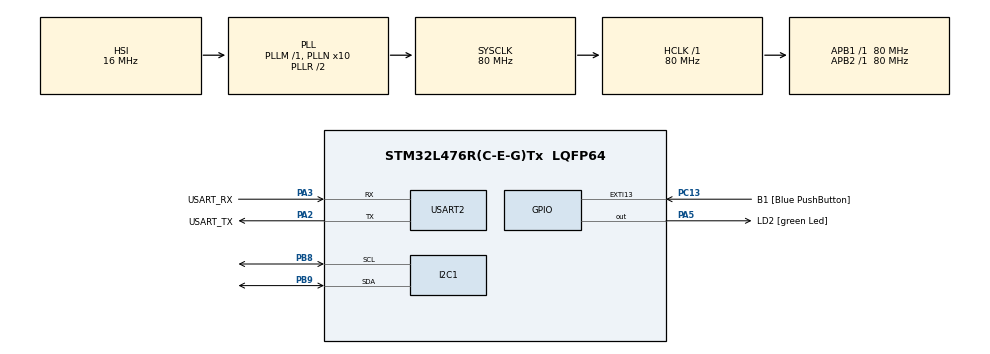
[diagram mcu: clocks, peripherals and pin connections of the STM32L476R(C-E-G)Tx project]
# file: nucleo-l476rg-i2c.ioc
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I2C1.OwnAddress=0x08
Mcu.Family=STM32L4
Mcu.Name=STM32L476R(C-E-G)Tx
Mcu.Package=LQFP64
NVIC.I2C1_ER_IRQn=true\:0\:0\:false\:false\:true\:true\:true
NVIC.I2C1_EV_IRQn=true\:0\:0\:false\:false\:true\:true\:true
NVIC.PriorityGroup=NVIC_PRIORITYGROUP_4
NVIC.USART2_IRQn=true\:0\:0\:false\:false\:true\:true\:true
PA13\ (JTMS-SWDIO).GPIO_Label=TMS
PA13\ (JTMS-SWDIO).Mode=Serial_Wire
PA13\ (JTMS-SWDIO).Signal=SYS_JTMS-SWDIO
PA14\ (JTCK-SWCLK).GPIO_Label=TCK
PA14\ (JTCK-SWCLK).Mode=Serial_Wire
PA14\ (JTCK-SWCLK).Signal=SYS_JTCK-SWCLK
PA2.GPIO_Label=USART_TX
PA2.GPIO_Mode=GPIO_MODE_AF_PP
PA2.GPIO_PuPd=GPIO_NOPULL
PA2.GPIO_Speed=GPIO_SPEED_FREQ_VERY_HIGH
PA2.Mode=Asynchronous
PA2.Signal=USART2_TX
PA3.GPIO_Label=USART_RX
PA3.GPIO_Mode=GPIO_MODE_AF_PP
PA3.GPIO_PuPd=GPIO_NOPULL
PA3.GPIO_Speed=GPIO_SPEED_FREQ_VERY_HIGH
PA3.Mode=Asynchronous
PA3.Signal=USART2_RX
PA5.GPIO_Label=LD2 [green Led]
PA5.GPIO_ModeDefaultOutputPP=GPIO_MODE_OUTPUT_PP
PA5.GPIO_PuPd=GPIO_NOPULL
PA5.GPIO_Speed=GPIO_SPEED_FREQ_LOW
PA5.Signal=GPIO_Output
PB3\ (JTDO-TRACESWO).GPIO_Label=SWO
PB3\ (JTDO-TRACESWO).Signal=SYS_JTDO-SWO
PB8.Mode=I2C
PB8.Signal=I2C1_SCL
PB9.Mode=I2C
PB9.Signal=I2C1_SDA
PC13.GPIO_Label=B1 [Blue PushButton]
PC13.GPIO_ModeDefaultEXTI=GPIO_MODE_IT_FALLING
PC13.GPIO_PuPd=GPIO_NOPULL
PC13.Signal=GPXTI13
PC14-OSC32_IN\ (PC14).Mode=LSE-External-Oscillator
PC14-OSC32_IN\ (PC14).Signal=RCC_OSC32_IN
PC15-OSC32_OUT\ (PC15).Mode=LSE-External-Oscillator
PC15-OSC32_OUT\ (PC15).Signal=RCC_OSC32_OUT
PH0-OSC_IN\ (PH0).Signal=RCC_OSC_IN
PH1-OSC_OUT\ (PH1).Signal=RCC_OSC_OUT
ProjectManager.HeapSize=0x200
ProjectManager.StackSize=0x400
ProjectManager.TargetToolchain=STM32CubeIDE
RCC.ADCFreq_Value=64000000
RCC.AHBFreq_Value=80000000
RCC.APB1Freq_Value=80000000
RCC.APB1TimFreq_Value=80000000
RCC.APB2Freq_Value=80000000
RCC.APB2TimFreq_Value=80000000
RCC.CortexFreq_Value=80000000
RCC.HCLKFreq_Value=80000000
RCC.HSE_VALUE=8000000
RCC.HSI_VALUE=16000000
RCC.MSI_VALUE=4000000
RCC.PLLN=10
RCC.PLLSourceVirtual=RCC_PLLSOURCE_HSI
RCC.PREFETCH_ENABLE=1
RCC.SYSCLKFreq_VALUE=80000000
RCC.SYSCLKSource=RCC_SYSCLKSOURCE_PLLCLK
RCC.USBFreq_Value=64000000
RCC.VCOOutputFreq_Value=160000000
USART2.VirtualMode-Asynchronous=VM_ASYNC
board=NUCLEO-L476RG

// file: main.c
/* USER CODE BEGIN Header */
/**
  ******************************************************************************
  * @file           : main.c
  * @brief          : Main program body
  ******************************************************************************
  * @attention
  *
  * <h2><center>&copy; Copyright (c) 2020 STMicroelectronics.
  * All rights reserved.</center></h2>
  *
  * This software component is licensed by ST under BSD 3-Clause license,
  * the "License"; You may not use this file except in compliance with the
  * License. You may obtain a copy of the License at:
  *                        opensource.org/licenses/BSD-3-Clause
  *
  ******************************************************************************
  */
/* USER CODE END Header */

#include "main.h"

/* USER CODE BEGIN Includes */
#include "stdio.h"
#include "stdlib.h"
#include "stdbool.h"
/* USER CODE END Includes */

I2C_HandleTypeDef hi2c1;

UART_HandleTypeDef huart2;

/* USER CODE BEGIN PV */

/*
 * i2c parameter section
 */
uint8_t rx_buffer[5];
uint8_t tx_buffer[5] = "12345";

bool rx_flag = true;

bool tx_flag = true;

/*
 * uart parameter section
 */
uint8_t rxChar;

/* USER CODE END PV */

void SystemClock_Config(void);
static void MX_GPIO_Init(void);
static void MX_USART2_UART_Init(void);
static void MX_I2C1_Init(void);

int main(void)
{

  /* MCU Configuration--------------------------------------------------------*/

  /* Reset of all peripherals, Initializes the Flash interface and the Systick. */
  HAL_Init();

  /* Configure the system clock */
  SystemClock_Config();

  /* Initialize all configured peripherals */
  MX_GPIO_Init();
  MX_USART2_UART_Init();
  MX_I2C1_Init();

  /* Infinite loop */
  /* USER CODE BEGIN WHILE */
  printf("Starting...");

  // HAL_I2C_EnableListen_IT(&hi2c1);
  uint8_t * str;
  while (1)
  {
    /* USER CODE END WHILE */

  }
}

void SystemClock_Config(void)
{
  RCC_OscInitTypeDef RCC_OscInitStruct = {0};
  RCC_ClkInitTypeDef RCC_ClkInitStruct = {0};
  RCC_PeriphCLKInitTypeDef PeriphClkInit = {0};

  /** Initializes the CPU, AHB and APB busses clocks
  */
  RCC_OscInitStruct.OscillatorType = RCC_OSCILLATORTYPE_HSI;
  RCC_OscInitStruct.HSIState = RCC_HSI_ON;
  RCC_OscInitStruct.HSICalibrationValue = RCC_HSICALIBRATION_DEFAULT;
  RCC_OscInitStruct.PLL.PLLState = RCC_PLL_ON;
  RCC_OscInitStruct.PLL.PLLSource = RCC_PLLSOURCE_HSI;
  RCC_OscInitStruct.PLL.PLLM = 1;
  RCC_OscInitStruct.PLL.PLLN = 10;
  RCC_OscInitStruct.PLL.PLLP = RCC_PLLP_DIV7;
  RCC_OscInitStruct.PLL.PLLQ = RCC_PLLQ_DIV2;
  RCC_OscInitStruct.PLL.PLLR = RCC_PLLR_DIV2;
  if (HAL_RCC_OscConfig(&RCC_OscInitStruct) != HAL_OK)
  {
    Error_Handler();
  }
  /** Initializes the CPU, AHB and APB busses clocks
  */
  RCC_ClkInitStruct.ClockType = RCC_CLOCKTYPE_HCLK|RCC_CLOCKTYPE_SYSCLK
                              |RCC_CLOCKTYPE_PCLK1|RCC_CLOCKTYPE_PCLK2;
  RCC_ClkInitStruct.SYSCLKSource = RCC_SYSCLKSOURCE_PLLCLK;
  RCC_ClkInitStruct.AHBCLKDivider = RCC_SYSCLK_DIV1;
  RCC_ClkInitStruct.APB1CLKDivider = RCC_HCLK_DIV1;
  RCC_ClkInitStruct.APB2CLKDivider = RCC_HCLK_DIV1;

  if (HAL_RCC_ClockConfig(&RCC_ClkInitStruct, FLASH_LATENCY_4) != HAL_OK)
  {
    Error_Handler();
  }
  PeriphClkInit.PeriphClockSelection = RCC_PERIPHCLK_USART2|RCC_PERIPHCLK_I2C1;
  PeriphClkInit.Usart2ClockSelection = RCC_USART2CLKSOURCE_PCLK1;
  PeriphClkInit.I2c1ClockSelection = RCC_I2C1CLKSOURCE_PCLK1;
  if (HAL_RCCEx_PeriphCLKConfig(&PeriphClkInit) != HAL_OK)
  {
    Error_Handler();
  }
  /** Configure the main internal regulator output voltage
  */
  if (HAL_PWREx_ControlVoltageScaling(PWR_REGULATOR_VOLTAGE_SCALE1) != HAL_OK)
  {
    Error_Handler();
  }
}

static void MX_I2C1_Init(void)
{

  hi2c1.Instance = I2C1;
  hi2c1.Init.Timing = 0x10909CEC;
  hi2c1.Init.OwnAddress1 = 16;
  hi2c1.Init.AddressingMode = I2C_ADDRESSINGMODE_7BIT;
  hi2c1.Init.DualAddressMode = I2C_DUALADDRESS_DISABLE;
  hi2c1.Init.OwnAddress2 = 0;
  hi2c1.Init.OwnAddress2Masks = I2C_OA2_NOMASK;
  hi2c1.Init.GeneralCallMode = I2C_GENERALCALL_DISABLE;
  hi2c1.Init.NoStretchMode = I2C_NOSTRETCH_DISABLE;
  if (HAL_I2C_Init(&hi2c1) != HAL_OK)
  {
    Error_Handler();
  }
  /** Configure Analogue filter
  */
  if (HAL_I2CEx_ConfigAnalogFilter(&hi2c1, I2C_ANALOGFILTER_ENABLE) != HAL_OK)
  {
    Error_Handler();
  }
  /** Configure Digital filter
  */
  if (HAL_I2CEx_ConfigDigitalFilter(&hi2c1, 0) != HAL_OK)
  {
    Error_Handler();
  }
  /* USER CODE BEGIN I2C1_Init 2 */

  //HAL_I2C_Slave_Receive_IT(&hi2c1, rx_buffer, 5);

  //HAL_I2C_Slave_Transmit_IT(&hi2c1, rx_buffer, 5);

  //HAL_I2C_EnableListen_IT(&hi2c1);

  /* USER CODE END I2C1_Init 2 */

}

static void MX_USART2_UART_Init(void)
{

  huart2.Instance = USART2;
  huart2.Init.BaudRate = 115200;
  huart2.Init.WordLength = UART_WORDLENGTH_8B;
  huart2.Init.StopBits = UART_STOPBITS_1;
  huart2.Init.Parity = UART_PARITY_NONE;
  huart2.Init.Mode = UART_MODE_TX_RX;
  huart2.Init.HwFlowCtl = UART_HWCONTROL_NONE;
  huart2.Init.OverSampling = UART_OVERSAMPLING_16;
  huart2.Init.OneBitSampling = UART_ONE_BIT_SAMPLE_DISABLE;
  huart2.AdvancedInit.AdvFeatureInit = UART_ADVFEATURE_NO_INIT;
  if (HAL_UART_Init(&huart2) != HAL_OK)
  {
    Error_Handler();
  }
  /* USER CODE BEGIN USART2_Init 2 */
  HAL_UART_Receive_IT(&huart2, &rxChar, 1);
  /* USER CODE END USART2_Init 2 */

}

static void MX_GPIO_Init(void)
{
  GPIO_InitTypeDef GPIO_InitStruct = {0};

  /* GPIO Ports Clock Enable */
  __HAL_RCC_GPIOC_CLK_ENABLE();
  __HAL_RCC_GPIOH_CLK_ENABLE();
  __HAL_RCC_GPIOA_CLK_ENABLE();
  __HAL_RCC_GPIOB_CLK_ENABLE();

  /*Configure GPIO pin Output Level */
  HAL_GPIO_WritePin(LD2_GPIO_Port, LD2_Pin, GPIO_PIN_RESET);

  /*Configure GPIO pin : B1_Pin */
  GPIO_InitStruct.Pin = B1_Pin;
  GPIO_InitStruct.Mode = GPIO_MODE_IT_FALLING;
  GPIO_InitStruct.Pull = GPIO_NOPULL;
  HAL_GPIO_Init(B1_GPIO_Port, &GPIO_InitStruct);

  /*Configure GPIO pin : LD2_Pin */
  GPIO_InitStruct.Pin = LD2_Pin;
  GPIO_InitStruct.Mode = GPIO_MODE_OUTPUT_PP;
  GPIO_InitStruct.Pull = GPIO_NOPULL;
  GPIO_InitStruct.Speed = GPIO_SPEED_FREQ_LOW;
  HAL_GPIO_Init(LD2_GPIO_Port, &GPIO_InitStruct);

}

/* USER CODE BEGIN 4 */

/*
 * i2c callback
 */
void HAL_I2C_SlaveRxCpltCallback(I2C_HandleTypeDef *hi2c)
{
	HAL_GPIO_TogglePin(LD2_GPIO_Port, LD2_Pin);
	printf("I2C reception transaction completed: %s \n\r",rx_buffer);
	rx_flag = true;	//re-initialize i2c reception transaction
	// printf("Re-initialize i2c reception transaction\n\r");
	//HAL_I2C_EnableListen_IT(hi2c);
	// HAL_I2C_Slave_Receive_IT(hi2c, rx_buffer, 5);
}

void HAL_I2C_SlaveTxCpltCallback(I2C_HandleTypeDef *hi2c)
{
	HAL_GPIO_TogglePin(LD2_GPIO_Port, LD2_Pin);
	tx_flag = true;	//re-initialize i2c transmission transaction
	// printf("Re-initialize i2c transmission transaction\n\r");
	//HAL_I2C_EnableListen_IT(hi2c);
	// HAL_I2C_Slave_Transmit_IT(hi2c, rx_buffer, 5);

}

void HAL_UART_RxCpltCallback(UART_HandleTypeDef *huart)
{
	HAL_UART_Transmit(huart, &rxChar, 1, 100);

	HAL_UART_Receive_IT(huart, &rxChar, 1);
}
/*
 * uart patch
 */
int __io_putchar(int ch)
{
	uint8_t c[1];
	c[0] = ch & 0x00FF;
	HAL_UART_Transmit(&huart2, &*c, 1, 10);
	return ch;
}

int _write(int file,char *ptr, int len)
{
	int DataIdx;
	for(DataIdx= 0; DataIdx< len; DataIdx++)
	{
		__io_putchar(*ptr++);
	}
	return len;
}

/* USER CODE END 4 */

void Error_Handler(void)
{
}

/************************ (C) COPYRIGHT STMicroelectronics *****END OF FILE****/
